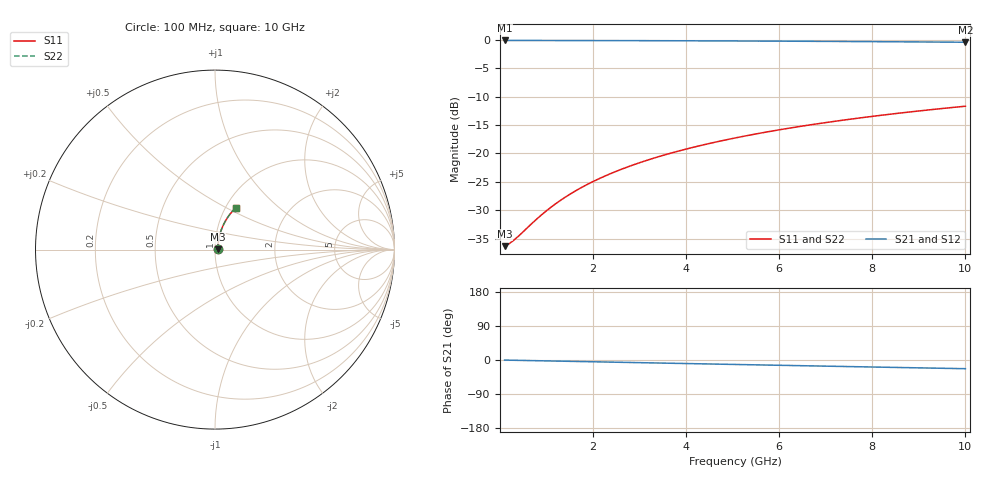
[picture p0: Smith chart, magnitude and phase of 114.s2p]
# Hz S RI R 50.00
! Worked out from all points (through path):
!   100 points, 100 MHz to 10 GHz, reference 50 ohm
!   highest |S21| = -0.13 dB at 100 MHz (marker M1); lowest = -0.4 dB at 10 GHz (marker M2)
!   group delay of S21, straight-line fit = 6.38 ps
!   lowest |S11| = -36.3 dB at 100 MHz (marker M3), VSWR 1.03, Z = 51.5 + j0.274 ohm
!   |S11| at or under -10 dB: start of sweep to end of sweep
!   |S22| runs from -36.3 to -11.7 dB; largest |S21 - S12| = 0
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1e8  0.015 0.00266  0.985 -0.00402  0.985 -0.00402  0.015 0.00266
2e8  0.0152 0.00532  0.9848 -0.00805  0.9848 -0.00805  0.0152 0.00532
3e8  0.0153 0.00798  0.9847 -0.0121  0.9847 -0.0121  0.0153 0.00798
4e8  0.0154 0.0106  0.9846 -0.0161  0.9846 -0.0161  0.0154 0.0106
8e8  0.0161 0.0212  0.9838 -0.0322  0.9838 -0.0322  0.0161 0.0212
1.1e9  0.0168 0.0292  0.983 -0.0442  0.983 -0.0442  0.0168 0.0292
1.4e9  0.0177 0.0371  0.9821 -0.0562  0.9821 -0.0562  0.0177 0.0371
1.6e9  0.0184 0.0424  0.9813 -0.0642  0.9813 -0.0642  0.0184 0.0424
1.8e9  0.0192 0.0476  0.9805 -0.0722  0.9805 -0.0722  0.0192 0.0476
2.1e9  0.0205 0.0555  0.9791 -0.0841  0.9791 -0.0841  0.0205 0.0555
2.5e9  0.0226 0.0658  0.9768 -0.1  0.9768 -0.1  0.0226 0.0658
2.9e9  0.0249 0.0762  0.9742 -0.1158  0.9742 -0.1158  0.0249 0.0762
3.4e9  0.0284 0.0889  0.9705 -0.1353  0.9705 -0.1353  0.0284 0.0889
3.8e9  0.0315 0.099  0.9671 -0.1509  0.9671 -0.1509  0.0315 0.099
4.2e9  0.0349 0.1089  0.9634 -0.1663  0.9634 -0.1663  0.0349 0.1089
4.6e9  0.0386 0.1187  0.9593 -0.1816  0.9593 -0.1816  0.0386 0.1187
5.1e9  0.0437 0.1308  0.9538 -0.2005  0.9538 -0.2005  0.0437 0.1308
5.9e9  0.0528 0.1495  0.9438 -0.2303  0.9438 -0.2303  0.0528 0.1495
6.7e9  0.0631 0.1676  0.9326 -0.2593  0.9326 -0.2593  0.0631 0.1676
7.5e9  0.0744 0.1848  0.9202 -0.2876  0.9202 -0.2876  0.0744 0.1848
8.4e9  0.0882 0.2032  0.905 -0.3184  0.905 -0.3184  0.0882 0.2032
1e10  0.1156 0.2329  0.8747 -0.3704  0.8747 -0.3704  0.1156 0.2329
